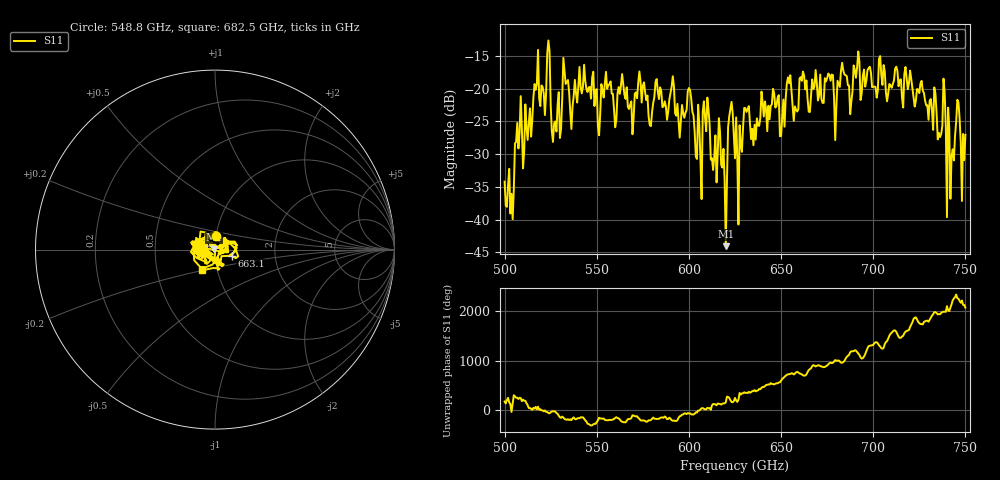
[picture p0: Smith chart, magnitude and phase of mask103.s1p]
!Created with skrf (http://scikit-rf.org).
# GHz S MA R 50.0
!freq magS11 angS11
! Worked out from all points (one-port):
!   401 points, 500 GHz to 750 GHz, reference 50 ohm
!   lowest |S11| = -44.1 dB at 620 GHz (marker M1), VSWR 1.01, Z = 49.4 + j0.231 ohm
!   |S11| at or under -10 dB: start of sweep to end of sweep
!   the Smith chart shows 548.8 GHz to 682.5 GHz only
!   S11 on the Smith chart (normalised r, x): 548.8 GHz: 1.00, +0.15; 663.1 GHz: 1.20, -0.08; 682.5 GHz: 0.84, -0.20
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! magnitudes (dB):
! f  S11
! 500 GHz  -34.2
! 503.8 GHz  -36.1
! 507.5 GHz  -29.1
! 513.8 GHz  -23.0
! 516.9 GHz  -20.2
! 523.8 GHz  -12.7
! 526.9 GHz  -25.3
! 531.2 GHz  -21.6
! 548.8 GHz  -22.7
! 562.5 GHz  -20.8
! 593.8 GHz  -22.3
! 600.6 GHz  -20.2
! 605.6 GHz  -25.5
! 609.4 GHz  -26.5
! 620 GHz  -44.1
! 622.5 GHz  -23.1
! 625 GHz  -30.6
! 627.5 GHz  -25.6
! 656.2 GHz  -22.7
! 663.1 GHz  -20.1
! 682.5 GHz  -17.3
! 687.5 GHz  -23.9
! 691.2 GHz  -16.8
! 718.8 GHz  -20.1
! 738.1 GHz  -18.5
! 741.2 GHz  -26.0
! 745.6 GHz  -21.7
! 750 GHz  -27.1
